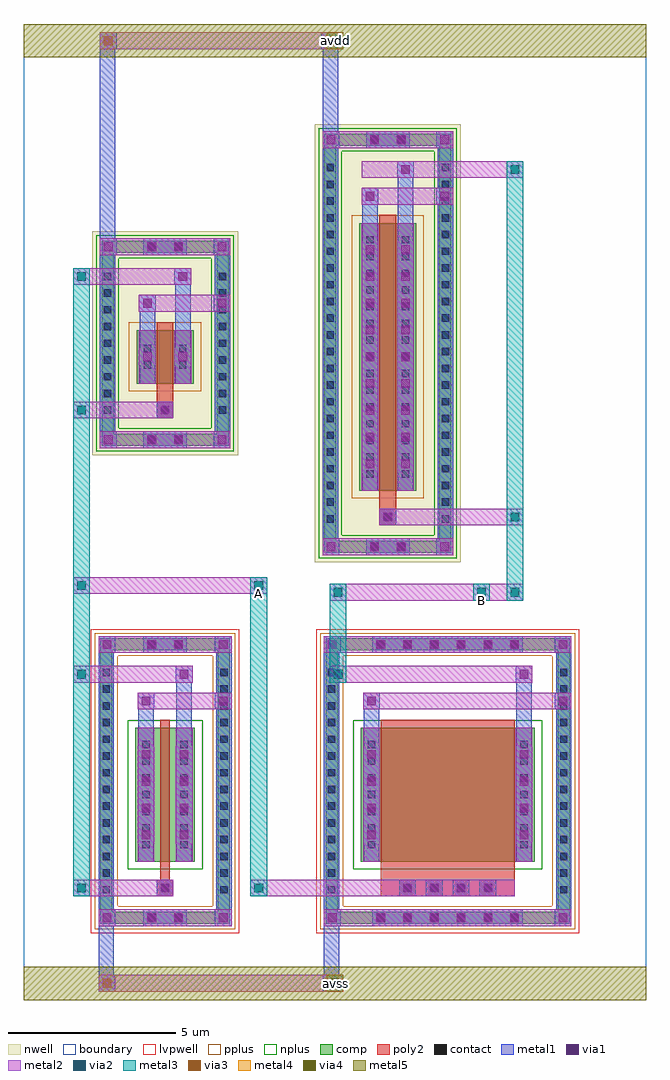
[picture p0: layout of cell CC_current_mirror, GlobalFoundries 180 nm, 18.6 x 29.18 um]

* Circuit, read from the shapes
.subckt CC_current_mirror A B avdd avss
XM1 A A avss avss nfet_03v3 w=4u l=0.28u
XM2 B A avss avss nfet_03v3 w=4u l=4u
XM3 A A avdd avdd pfet_03v3 w=1.6u l=0.5u
XM4 B B avdd avdd pfet_03v3 w=8u l=0.5u
.ends

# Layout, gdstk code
import gdstk
lib = gdstk.Library(unit=1e-6, precision=1e-09)
def R(c, l, rs):  # rectangles x0, y0, x1, y1
    for r in rs: c.add(gdstk.rectangle(r[:2], r[2:], *l))
def A(c, l, x, y, w, h, nx, ny, dx, dy):  # array of equal rectangles
    R(c, l, [(x+i*dx, y+j*dy, x+i*dx+w, y+j*dy+h) for i in range(nx) for j in range(ny)])
def P(c, l, *ps):  # polygons
    for p in ps: c.add(gdstk.Polygon(p, *l))
boundary = (0, 0)
nwell = (21, 0)
comp = (22, 0)
poly2 = (30, 0)
pplus = (31, 0)
nplus = (32, 0)
contact = (33, 0)
metal1 = (34, 0)
via1 = (35, 0)
metal2 = (36, 0)
via2 = (38, 0)
via3 = (40, 0)
via4 = (41, 0)
metal3 = (42, 0)
metal4 = (46, 0)
metal5 = (81, 0)
lvpwell = (204, 0)

cc_c_route_9af5f0b9 = lib.new_cell('CC_c_route_9af5f0b9')
R(cc_c_route_9af5f0b9, metal2, [(9.14,9.49,10.14,9.99), (9.14,9.49,9.64,9.99), (9.14,11.94,9.64,12.44), (9.14,11.94,13.43,12.44)])
R(cc_c_route_9af5f0b9, via2, [(9.26,9.61,9.52,9.87), (9.26,12.06,9.52,12.32)])
R(cc_c_route_9af5f0b9, metal3, [(9.14,9.49,9.64,9.99), (9.14,9.49,9.64,9.99), (9.14,9.49,9.64,12.44), (9.14,11.94,9.64,12.44), (9.14,11.94,9.64,12.44)])
P(cc_c_route_9af5f0b9, metal3, [(9.64,9.49),(9.64,9.99),(9.64,9.99),(9.64,9.49)],
  [(9.64,11.94),(9.64,12.44),(9.64,12.44),(9.64,11.94)])

cc_c_route_4b62a17f = lib.new_cell('CC_c_route_4b62a17f')
R(cc_c_route_4b62a17f, metal2, [(13.93,11.94,14.93,12.44), (14.43,11.94,14.93,12.44), (11.13,14.19,14.93,14.69), (14.43,14.19,14.93,14.69)])
R(cc_c_route_4b62a17f, via2, [(14.55,12.06,14.81,12.32), (14.55,14.31,14.81,14.57)])
R(cc_c_route_4b62a17f, metal3, [(14.43,11.94,14.93,12.44), (14.43,11.94,14.93,12.44), (14.43,11.94,14.93,14.69), (14.43,14.19,14.93,14.69), (14.43,14.19,14.93,14.69)])
P(cc_c_route_4b62a17f, metal3, [(14.93,11.94),(14.93,12.44),(14.93,12.44),(14.93,11.94)],
  [(14.93,14.19),(14.93,14.69),(14.93,14.69),(14.93,14.19)])

cc_c_route_1f64fc76 = lib.new_cell('CC_c_route_1f64fc76')
R(cc_c_route_1f64fc76, metal2, [(13.93,11.94,14.93,12.44), (14.43,11.94,14.93,12.44), (11.66,24.58,14.93,25.08), (14.43,24.58,14.93,25.08)])
R(cc_c_route_1f64fc76, via2, [(14.55,12.06,14.81,12.32), (14.55,24.7,14.81,24.96)])
R(cc_c_route_1f64fc76, metal3, [(14.43,11.94,14.93,12.44), (14.43,11.94,14.93,12.44), (14.43,11.94,14.93,25.08), (14.43,24.58,14.93,25.08), (14.43,24.58,14.93,25.08)])
P(cc_c_route_1f64fc76, metal3, [(14.93,11.94),(14.93,12.44),(14.93,12.44),(14.93,11.94)],
  [(14.93,24.58),(14.93,25.08),(14.93,25.08),(14.93,24.58)])

cc_l_route_401f96ee = lib.new_cell('CC_L_route_401f96ee')
R(cc_l_route_401f96ee, metal2, [(6.77,3.1,10.67,3.6), (6.77,3.1,7.27,3.6), (6.77,3.1,7.27,3.6)])
R(cc_l_route_401f96ee, via2, [(6.89,3.22,7.15,3.48)])
R(cc_l_route_401f96ee, metal3, [(6.77,3.1,7.27,3.6), (6.77,3.1,7.27,3.6), (6.77,3.1,7.27,12.14)])

cc_straight_route_ca1693 = lib.new_cell('CC_straight_route_ca1693f4')
R(cc_straight_route_ca1693, metal2, [(1.47,12.14,7.27,12.64)])

cc_l_route_70e60bcc = lib.new_cell('CC_L_route_70e60bcc')
R(cc_l_route_70e60bcc, metal2, [(1.47,3.1,3.97,3.6), (1.47,3.1,1.97,3.6), (1.47,3.1,1.97,3.6)])
R(cc_l_route_70e60bcc, via2, [(1.59,3.22,1.85,3.48)])
R(cc_l_route_70e60bcc, metal3, [(1.47,3.1,1.97,3.6), (1.47,3.1,1.97,3.6), (1.47,3.1,1.97,12.14)])

cc_l_route_1d105673 = lib.new_cell('CC_L_route_1d105673')
R(cc_l_route_1d105673, metal2, [(1.47,17.39,3.97,17.89), (1.47,17.39,1.97,17.89), (1.47,17.39,1.97,17.89)])
R(cc_l_route_1d105673, via2, [(1.59,17.51,1.85,17.77)])
R(cc_l_route_1d105673, metal3, [(1.47,12.64,1.97,17.89), (1.47,17.39,1.97,17.89), (1.47,17.39,1.97,17.89)])

cc_l_route_0b815acd = lib.new_cell('CC_L_route_0b815acd')
R(cc_l_route_0b815acd, metal2, [(1.47,9.49,3.4,9.99), (1.47,9.49,1.97,9.99), (1.47,9.49,1.97,9.99)])
R(cc_l_route_0b815acd, via2, [(1.59,9.61,1.85,9.87)])
R(cc_l_route_0b815acd, metal3, [(1.47,9.49,1.97,9.99), (1.47,9.49,1.97,9.99), (1.47,9.49,1.97,12.14)])

cc_l_route_261ebb80 = lib.new_cell('CC_L_route_261ebb80')
R(cc_l_route_261ebb80, metal2, [(1.47,21.38,3.44,21.88), (1.47,21.38,1.97,21.88), (1.47,21.38,1.97,21.88)])
R(cc_l_route_261ebb80, via2, [(1.59,21.5,1.85,21.76)])
R(cc_l_route_261ebb80, metal3, [(1.47,12.64,1.97,21.88), (1.47,21.38,1.97,21.88), (1.47,21.38,1.97,21.88)])

cc_l_route_b678fe23 = lib.new_cell('CC_L_route_b678fe23')
R(cc_l_route_b678fe23, metal1, [(15.87,8.69,16.37,9.19), (15.87,8.69,16.37,9.19), (15.91,8.69,16.37,10.45)])
R(cc_l_route_b678fe23, via1, [(15.99,8.81,16.25,9.07)])
R(cc_l_route_b678fe23, metal2, [(15.2,8.69,16.37,9.19), (15.87,8.69,16.37,9.19), (15.87,8.69,16.37,9.19)])

cc_l_route_3668c173 = lib.new_cell('CC_L_route_3668c173')
R(cc_l_route_3668c173, metal1, [(5.71,8.69,6.21,9.19), (5.71,8.69,6.21,9.19), (5.75,8.69,6.21,10.45)])
R(cc_l_route_3668c173, via1, [(5.83,8.81,6.09,9.07)])
R(cc_l_route_3668c173, metal2, [(5.04,8.69,6.21,9.19), (5.71,8.69,6.21,9.19), (5.71,8.69,6.21,9.19)])

cc_l_route_44892cc1 = lib.new_cell('CC_L_route_44892cc1')
R(cc_l_route_44892cc1, metal1, [(12.33,23.78,12.83,24.28), (12.33,23.78,12.83,24.28), (12.37,23.78,12.83,25.54)])
R(cc_l_route_44892cc1, via1, [(12.45,23.9,12.71,24.16)])
R(cc_l_route_44892cc1, metal2, [(11.66,23.78,12.83,24.28), (12.33,23.78,12.83,24.28), (12.33,23.78,12.83,24.28)])

cc_l_route_7fcb8801 = lib.new_cell('CC_L_route_7fcb8801')
R(cc_l_route_7fcb8801, metal1, [(5.67,20.58,6.17,21.08), (5.67,20.58,6.17,21.08), (5.71,20.58,6.17,22.34)])
R(cc_l_route_7fcb8801, via1, [(5.79,20.7,6.05,20.96)])
R(cc_l_route_7fcb8801, metal2, [(5,20.58,6.17,21.08), (5.67,20.58,6.17,21.08), (5.67,20.58,6.17,21.08)])

cc_l_route_9d17e116 = lib.new_cell('CC_L_route_9d17e116')
R(cc_l_route_9d17e116, metal1, [(8.93,0.25,9.43,0.75), (8.93,0.25,9.43,0.75), (8.97,0.25,9.43,2.64)])
R(cc_l_route_9d17e116, via1, [(9.05,0.37,9.31,0.63)])
R(cc_l_route_9d17e116, metal2, [(8.93,0.25,9.43,0.75), (8.93,0.25,9.43,0.75), (9.05,0.25,9.43,0.75)])

cc_l_route_4c3c9079 = lib.new_cell('CC_L_route_4c3c9079')
R(cc_l_route_4c3c9079, metal1, [(2.23,0.25,2.73,0.75), (2.23,0.25,2.73,0.75), (2.23,0.25,2.69,2.64)])
R(cc_l_route_4c3c9079, via1, [(2.35,0.37,2.61,0.63)])
R(cc_l_route_4c3c9079, metal2, [(2.23,0.25,9.05,0.75), (2.23,0.25,2.73,0.75), (2.23,0.25,2.73,0.75)])

cc_l_route_912ef19c = lib.new_cell('CC_L_route_912ef19c')
R(cc_l_route_912ef19c, metal1, [(8.93,25.54,9.39,28.93), (8.89,28.43,9.39,28.93), (8.89,28.43,9.39,28.93)])
R(cc_l_route_912ef19c, via1, [(9.01,28.55,9.27,28.81)])
R(cc_l_route_912ef19c, metal2, [(8.89,28.43,9.39,28.93), (8.89,28.43,9.39,28.93), (9.05,28.43,9.39,28.93)])

cc_l_route_854bcf3a = lib.new_cell('CC_L_route_854bcf3a')
R(cc_l_route_854bcf3a, metal1, [(2.27,22.34,2.73,28.93), (2.27,28.43,2.77,28.93), (2.27,28.43,2.77,28.93)])
R(cc_l_route_854bcf3a, via1, [(2.39,28.55,2.65,28.81)])
R(cc_l_route_854bcf3a, metal2, [(2.27,28.43,9.05,28.93), (2.27,28.43,2.77,28.93), (2.27,28.43,2.77,28.93)])

cc_via_stack_a2e89513_23 = lib.new_cell('CC_via_stack_a2e89513$23')
R(cc_via_stack_a2e89513_23, metal2, [(-0.25,-0.25,0.25,0.25)])
R(cc_via_stack_a2e89513_23, via2, [(-0.13,-0.13,0.13,0.13)])
R(cc_via_stack_a2e89513_23, metal3, [(-0.25,-0.25,0.25,0.25)])

cc_via_stack_7fdd5994_2 = lib.new_cell('CC_via_stack_7fdd5994$2')
R(cc_via_stack_7fdd5994_2, metal2, [(-0.25,-0.25,0.25,0.25)])
R(cc_via_stack_7fdd5994_2, via2, [(-0.13,-0.13,0.13,0.13)])
R(cc_via_stack_7fdd5994_2, via3, [(-0.13,-0.13,0.13,0.13)])
R(cc_via_stack_7fdd5994_2, via4, [(-0.13,-0.13,0.13,0.13)])
R(cc_via_stack_7fdd5994_2, metal3, [(-0.25,-0.25,0.25,0.25)])
R(cc_via_stack_7fdd5994_2, metal4, [(-0.25,-0.25,0.25,0.25)])
R(cc_via_stack_7fdd5994_2, metal5, [(-0.25,-0.25,0.25,0.25)])

cc_compass_8b261e8c_1 = lib.new_cell('CC_compass_8b261e8c$1')
R(cc_compass_8b261e8c_1, metal5, [(-9.3,-0.5,9.3,0.5)])

cc_rectangle_8b261e8c_1 = lib.new_cell('CC_rectangle_8b261e8c$1')
cc_rectangle_8b261e8c_1.add(gdstk.Reference(cc_compass_8b261e8c_1, (9.3,0.5)))

cc_compass_8b261e8c = lib.new_cell('CC_compass_8b261e8c')
R(cc_compass_8b261e8c, metal5, [(-9.3,-0.5,9.3,0.5)])

cc_rectangle_8b261e8c = lib.new_cell('CC_rectangle_8b261e8c')
cc_rectangle_8b261e8c.add(gdstk.Reference(cc_compass_8b261e8c, (9.3,0.5)))

cc_m4 = lib.new_cell('CC_M4')
R(cc_m4, nwell, [(-2.18,-3.345,2.18,3.345), (-2.02,-3.185,2.02,3.185)])
A(cc_m4, comp, -1.9, -2.18, 0.36, 0.36, 1, 9, 0, 0.5)
A(cc_m4, comp, 1.54, -2.18, 0.36, 0.36, 1, 9, 0, 0.5)
R(cc_m4, comp, [(-0.58,-3.065,-0.22,-2.705), (-0.58,-3.065,0.58,-2.705), (0.22,-3.065,0.58,-2.705), (-1.9,-2.18,-1.54,2.18), (1.54,-2.18,1.9,2.18), (-0.85,-1.205,0.85,0.395), (-0.58,2.705,-0.22,3.065), (-0.58,2.705,0.58,3.065), (0.22,2.705,0.58,3.065)])
P(cc_m4, comp, [(-1.9,-3.065),(-1.9,-2.705),(1.54,-2.705),(1.54,2.705),(-1.54,2.705),(-1.54,-2.705),(-1.9,-2.705),(-1.9,3.065),(1.9,3.065),(1.9,-3.065)])
R(cc_m4, poly2, [(-0.25,-2.245,0.25,-1.745), (-0.18,-2.175,0.18,-1.815), (-0.25,-1.745,0.25,-1.445), (-0.25,-1.445,0.25,0.635)])
R(cc_m4, pplus, [(-1.08,-1.435,1.08,0.625)])
P(cc_m4, nplus, [(-2.06,-3.225),(-2.06,-2.545),(1.38,-2.545),(1.38,2.545),(-1.38,2.545),(-1.38,-2.545),(-2.06,-2.545),(-2.06,3.225),(2.06,3.225),(2.06,-3.225)])
A(cc_m4, contact, -1.83, -2.11, 0.22, 0.22, 1, 9, 0, 0.5)
A(cc_m4, contact, 1.61, -2.11, 0.22, 0.22, 1, 9, 0, 0.5)
R(cc_m4, contact, [(-0.51,-2.995,-0.29,-2.775), (0.29,-2.995,0.51,-2.775), (-0.11,-2.105,0.11,-1.885), (-0.64,-0.765,-0.42,-0.545), (0.42,-0.765,0.64,-0.545), (-0.64,-0.265,-0.42,-0.045), (0.42,-0.265,0.64,-0.045), (-0.51,2.775,-0.29,2.995), (0.29,2.775,0.51,2.995)])
A(cc_m4, metal1, -1.95, -2.23, 0.46, 0.46, 1, 9, 0, 0.5)
A(cc_m4, metal1, 1.49, -2.23, 0.46, 0.46, 1, 9, 0, 0.5)
R(cc_m4, metal1, [(-1.95,-3.135,-1.45,-2.635), (-1.95,-3.135,-1.45,-2.635), (-1.95,-3.135,-1.49,-2.705), (-0.65,-3.135,-0.15,-2.635), (-0.65,-3.135,0.65,-2.635), (0.15,-3.135,0.65,-2.635), (1.45,-3.135,1.95,-2.635), (1.45,-3.135,1.95,-2.635), (1.49,-3.135,1.95,-2.705), (-1.95,-2.705,-1.49,2.705), (1.49,-2.705,1.95,2.705), (-0.25,-2.245,0.25,-1.745), (-0.76,-1.205,-0.3,0.395), (0.3,-1.205,0.76,0.395), (-0.76,-0.885,-0.3,-0.425), (0.3,-0.885,0.76,-0.425), (-0.78,-0.655,-0.28,-0.155), (-0.78,-0.655,-0.28,-0.155), (0.28,-0.655,0.78,-0.155), (0.28,-0.655,0.78,-0.155), (-0.76,-0.385,-0.3,0.075), (0.3,-0.385,0.76,0.075), (-0.76,0.395,-0.3,1.445), (0.3,0.395,0.76,2.245), (-0.78,0.945,-0.28,1.445), (0.28,1.745,0.78,2.245), (-1.95,2.635,-1.45,3.135), (-1.95,2.635,-1.45,3.135), (-0.65,2.635,-0.15,3.135), (-0.65,2.635,0.65,3.135), (0.15,2.635,0.65,3.135), (1.45,2.635,1.95,3.135), (1.45,2.635,1.95,3.135), (-1.95,2.705,-1.49,3.135), (1.49,2.705,1.95,3.135)])
R(cc_m4, via1, [(-1.83,-3.015,-1.57,-2.755), (-0.53,-3.015,-0.27,-2.755), (0.27,-3.015,0.53,-2.755), (1.57,-3.015,1.83,-2.755), (-0.13,-2.125,0.13,-1.865), (-0.66,-0.535,-0.4,-0.275), (0.4,-0.535,0.66,-0.275), (-0.66,1.065,-0.4,1.325), (0.4,1.865,0.66,2.125), (-1.83,2.755,-1.57,3.015), (-0.53,2.755,-0.27,3.015), (0.27,2.755,0.53,3.015), (1.57,2.755,1.83,3.015)])
R(cc_m4, metal2, [(-1.95,-3.135,-1.45,-2.635), (-1.95,-3.135,-1.45,-2.635), (-1.95,-3.135,-1.54,-2.635), (-1.54,-3.135,1.54,-2.635), (-0.65,-3.135,-0.15,-2.635), (0.15,-3.135,0.65,-2.635), (1.45,-3.135,1.95,-2.635), (1.45,-3.135,1.95,-2.635), (1.54,-3.135,1.95,-2.635), (-0.25,-2.245,0.25,-1.745), (-0.25,-2.245,0.25,-1.745), (-0.78,-1.205,-0.28,0.395), (0.28,-1.205,0.78,0.395), (-0.78,-0.655,-0.28,-0.155), (0.28,-0.655,0.78,-0.155), (-0.78,0.945,-0.28,1.445), (-0.78,0.945,0.78,1.445), (-0.78,1.745,0.78,2.245), (0.28,1.745,0.78,2.245), (-1.95,2.635,-1.45,3.135), (-1.95,2.635,-1.45,3.135), (-1.95,2.635,-1.54,3.135), (-1.54,2.635,1.54,3.135), (-0.65,2.635,-0.15,3.135), (0.15,2.635,0.65,3.135), (1.45,2.635,1.95,3.135), (1.45,2.635,1.95,3.135), (1.54,2.635,1.95,3.135)])

cc_m3 = lib.new_cell('CC_M3')
R(cc_m3, nwell, [(-2.18,-6.545,2.18,6.545), (-2.02,-6.385,2.02,6.385)])
A(cc_m3, comp, -1.9, -5.43, 0.36, 0.36, 1, 22, 0, 0.5)
A(cc_m3, comp, 1.54, -5.43, 0.36, 0.36, 1, 22, 0, 0.5)
R(cc_m3, comp, [(-0.58,-6.265,-0.22,-5.905), (-0.58,-6.265,0.58,-5.905), (0.22,-6.265,0.58,-5.905), (-1.9,-5.43,-1.54,5.43), (1.54,-5.43,1.9,5.43), (-0.85,-4.405,0.85,3.595), (-0.58,5.905,-0.22,6.265), (-0.58,5.905,0.58,6.265), (0.22,5.905,0.58,6.265)])
P(cc_m3, comp, [(-1.9,-6.265),(-1.9,-5.905),(1.54,-5.905),(1.54,5.905),(-1.54,5.905),(-1.54,-5.905),(-1.9,-5.905),(-1.9,6.265),(1.9,6.265),(1.9,-6.265)])
R(cc_m3, poly2, [(-0.25,-5.445,0.25,-4.945), (-0.18,-5.375,0.18,-5.015), (-0.25,-4.945,0.25,-4.645), (-0.25,-4.645,0.25,3.835)])
R(cc_m3, pplus, [(-1.08,-4.635,1.08,3.825)])
P(cc_m3, nplus, [(-2.06,-6.425),(-2.06,-5.745),(1.38,-5.745),(1.38,5.745),(-1.38,5.745),(-1.38,-5.745),(-2.06,-5.745),(-2.06,6.425),(2.06,6.425),(2.06,-6.425)])
A(cc_m3, contact, -1.83, -5.36, 0.22, 0.22, 1, 22, 0, 0.5)
A(cc_m3, contact, 1.61, -5.36, 0.22, 0.22, 1, 22, 0, 0.5)
A(cc_m3, contact, -0.64, -4.015, 0.22, 0.22, 1, 15, 0, 0.5)
A(cc_m3, contact, 0.42, -4.015, 0.22, 0.22, 1, 15, 0, 0.5)
R(cc_m3, contact, [(-0.51,-6.195,-0.29,-5.975), (0.29,-6.195,0.51,-5.975), (-0.11,-5.305,0.11,-5.085), (-0.51,5.975,-0.29,6.195), (0.29,5.975,0.51,6.195)])
A(cc_m3, metal1, -1.95, -5.48, 0.46, 0.46, 1, 22, 0, 0.5)
A(cc_m3, metal1, 1.49, -5.48, 0.46, 0.46, 1, 22, 0, 0.5)
A(cc_m3, metal1, -0.76, -4.135, 0.46, 0.46, 1, 15, 0, 0.5)
A(cc_m3, metal1, 0.3, -4.135, 0.46, 0.46, 1, 15, 0, 0.5)
A(cc_m3, metal1, -0.78, -3.855, 0.5, 0.5, 1, 9, 0, 0.8)
A(cc_m3, metal1, 0.28, -3.855, 0.5, 0.5, 1, 9, 0, 0.8)
R(cc_m3, metal1, [(-1.95,-6.335,-1.45,-5.835), (-1.95,-6.335,-1.45,-5.835), (-1.95,-6.335,-1.49,-5.905), (-0.65,-6.335,-0.15,-5.835), (-0.65,-6.335,0.65,-5.835), (0.15,-6.335,0.65,-5.835), (1.45,-6.335,1.95,-5.835), (1.45,-6.335,1.95,-5.835), (1.49,-6.335,1.95,-5.905), (-1.95,-5.905,-1.49,5.905), (1.49,-5.905,1.95,5.905), (-0.25,-5.445,0.25,-4.945), (-0.76,-4.405,-0.3,3.595), (0.3,-4.405,0.76,3.595), (-0.78,-3.855,-0.28,3.045), (0.28,-3.855,0.78,3.045), (-0.76,3.595,-0.3,4.645), (0.3,3.595,0.76,5.445), (-0.78,4.145,-0.28,4.645), (0.28,4.945,0.78,5.445), (-1.95,5.835,-1.45,6.335), (-1.95,5.835,-1.45,6.335), (-0.65,5.835,-0.15,6.335), (-0.65,5.835,0.65,6.335), (0.15,5.835,0.65,6.335), (1.45,5.835,1.95,6.335), (1.45,5.835,1.95,6.335), (-1.95,5.905,-1.49,6.335), (1.49,5.905,1.95,6.335)])
A(cc_m3, via1, -0.66, -3.735, 0.26, 0.26, 1, 9, 0, 0.8)
A(cc_m3, via1, 0.4, -3.735, 0.26, 0.26, 1, 9, 0, 0.8)
R(cc_m3, via1, [(-1.83,-6.215,-1.57,-5.955), (-0.53,-6.215,-0.27,-5.955), (0.27,-6.215,0.53,-5.955), (1.57,-6.215,1.83,-5.955), (-0.13,-5.325,0.13,-5.065), (-0.66,4.265,-0.4,4.525), (0.4,5.065,0.66,5.325), (-1.83,5.955,-1.57,6.215), (-0.53,5.955,-0.27,6.215), (0.27,5.955,0.53,6.215), (1.57,5.955,1.83,6.215)])
A(cc_m3, metal2, -0.78, -3.855, 0.5, 0.5, 1, 9, 0, 0.8)
A(cc_m3, metal2, 0.28, -3.855, 0.5, 0.5, 1, 9, 0, 0.8)
R(cc_m3, metal2, [(-1.95,-6.335,-1.45,-5.835), (-1.95,-6.335,-1.45,-5.835), (-1.95,-6.335,-1.54,-5.835), (-1.54,-6.335,1.54,-5.835), (-0.65,-6.335,-0.15,-5.835), (0.15,-6.335,0.65,-5.835), (1.45,-6.335,1.95,-5.835), (1.45,-6.335,1.95,-5.835), (1.54,-6.335,1.95,-5.835), (-0.25,-5.445,0.25,-4.945), (-0.25,-5.445,0.25,-4.945), (-0.78,-4.405,-0.28,3.595), (0.28,-4.405,0.78,3.595), (-0.78,4.145,-0.28,4.645), (-0.78,4.145,0.78,4.645), (-0.78,4.945,0.78,5.445), (0.28,4.945,0.78,5.445), (-1.95,5.835,-1.45,6.335), (-1.95,5.835,-1.45,6.335), (-1.95,5.835,-1.54,6.335), (-1.54,5.835,1.54,6.335), (-0.65,5.835,-0.15,6.335), (0.15,5.835,0.65,6.335), (1.45,5.835,1.95,6.335), (1.45,5.835,1.95,6.335), (1.54,5.835,1.95,6.335)])

cc_m2 = lib.new_cell('CC_M2')
A(cc_m2, comp, -2.18, -4.265, 0.36, 0.36, 6, 2, 0.8, 8.17)
A(cc_m2, comp, -3.65, -3.43, 0.36, 0.36, 1, 14, 0, 0.5)
A(cc_m2, comp, 3.29, -3.43, 0.36, 0.36, 1, 14, 0, 0.5)
R(cc_m2, comp, [(-2.18,-4.265,2.18,-3.905), (-3.65,-3.43,-3.29,3.43), (3.29,-3.43,3.65,3.43), (-2.6,-2.405,2.6,1.595), (-2.18,3.905,2.18,4.265)])
P(cc_m2, comp, [(-3.65,-4.265),(-3.65,-3.905),(3.29,-3.905),(3.29,3.905),(-3.29,3.905),(-3.29,-3.905),(-3.65,-3.905),(-3.65,4.265),(3.65,4.265),(3.65,-4.265)])
A(cc_m2, poly2, -1.38, -3.375, 0.36, 0.36, 4, 1, 0.8, 0)
R(cc_m2, poly2, [(-2,-3.445,2,-2.945), (-2,-2.945,2,-2.645), (-2,-2.645,2,1.835)])
P(cc_m2, pplus, [(-3.81,-4.425),(-3.81,-3.745),(3.13,-3.745),(3.13,3.745),(-3.13,3.745),(-3.13,-3.745),(-3.81,-3.745),(-3.81,4.425),(3.81,4.425),(3.81,-4.425)])
R(cc_m2, nplus, [(-2.83,-2.635,2.83,1.825)])
A(cc_m2, contact, -2.11, -4.195, 0.22, 0.22, 6, 2, 0.8, 8.17)
A(cc_m2, contact, -3.58, -3.36, 0.22, 0.22, 1, 14, 0, 0.5)
A(cc_m2, contact, 3.36, -3.36, 0.22, 0.22, 1, 14, 0, 0.5)
A(cc_m2, contact, -1.31, -3.305, 0.22, 0.22, 4, 1, 0.8, 0)
A(cc_m2, contact, -2.39, -2.015, 0.22, 0.22, 1, 7, 0, 0.5)
A(cc_m2, contact, 2.17, -2.015, 0.22, 0.22, 1, 7, 0, 0.5)
A(cc_m2, metal1, -2.25, -4.335, 0.5, 0.5, 6, 2, 0.8, 8.17)
A(cc_m2, metal1, -3.7, -3.48, 0.46, 0.46, 1, 14, 0, 0.5)
A(cc_m2, metal1, 3.24, -3.48, 0.46, 0.46, 1, 14, 0, 0.5)
A(cc_m2, metal1, -1.45, -3.445, 0.5, 0.5, 4, 1, 0.8, 0)
A(cc_m2, metal1, -2.51, -2.135, 0.46, 0.46, 1, 7, 0, 0.5)
A(cc_m2, metal1, 2.05, -2.135, 0.46, 0.46, 1, 7, 0, 0.5)
A(cc_m2, metal1, -2.53, -1.855, 0.5, 0.5, 1, 4, 0, 0.8)
A(cc_m2, metal1, 2.03, -1.855, 0.5, 0.5, 1, 4, 0, 0.8)
R(cc_m2, metal1, [(-3.7,-4.335,-3.2,-3.835), (-3.7,-4.335,-3.2,-3.835), (-3.7,-4.335,-3.24,-3.905), (-2.25,-4.335,2.25,-3.835), (3.2,-4.335,3.7,-3.835), (3.2,-4.335,3.7,-3.835), (3.24,-4.335,3.7,-3.905), (-3.7,-3.905,-3.24,3.905), (3.24,-3.905,3.7,3.905), (-2.51,-2.405,-2.05,1.595), (2.05,-2.405,2.51,1.595), (-2.53,-1.855,-2.03,1.045), (2.03,-1.855,2.53,1.045), (-2.51,1.595,-2.05,2.645), (2.05,1.595,2.51,3.445), (-2.53,2.145,-2.03,2.645), (2.03,2.945,2.53,3.445), (-3.7,3.835,-3.2,4.335), (-3.7,3.835,-3.2,4.335), (-2.25,3.835,2.25,4.335), (3.2,3.835,3.7,4.335), (3.2,3.835,3.7,4.335), (-3.7,3.905,-3.24,4.335), (3.24,3.905,3.7,4.335)])
A(cc_m2, via1, -2.13, -4.215, 0.26, 0.26, 6, 2, 0.8, 8.17)
A(cc_m2, via1, -1.33, -3.325, 0.26, 0.26, 4, 1, 0.8, 0)
A(cc_m2, via1, -2.41, -1.735, 0.26, 0.26, 1, 4, 0, 0.8)
A(cc_m2, via1, 2.15, -1.735, 0.26, 0.26, 1, 4, 0, 0.8)
R(cc_m2, via1, [(-3.58,-4.215,-3.32,-3.955), (3.32,-4.215,3.58,-3.955), (-2.41,2.265,-2.15,2.525), (2.15,3.065,2.41,3.325), (-3.58,3.955,-3.32,4.215), (3.32,3.955,3.58,4.215)])
A(cc_m2, metal2, -2.25, -4.335, 0.5, 0.5, 6, 2, 0.8, 8.17)
A(cc_m2, metal2, -1.45, -3.445, 0.5, 0.5, 4, 1, 0.8, 0)
A(cc_m2, metal2, -2.53, -1.855, 0.5, 0.5, 1, 4, 0, 0.8)
A(cc_m2, metal2, 2.03, -1.855, 0.5, 0.5, 1, 4, 0, 0.8)
R(cc_m2, metal2, [(-3.7,-4.335,-3.2,-3.835), (-3.7,-4.335,-3.2,-3.835), (-3.7,-4.335,-3.29,-3.835), (-3.29,-4.335,3.29,-3.835), (3.2,-4.335,3.7,-3.835), (3.2,-4.335,3.7,-3.835), (3.29,-4.335,3.7,-3.835), (-2,-3.445,2,-2.945), (-2.53,-2.405,-2.03,1.595), (2.03,-2.405,2.53,1.595), (-2.53,2.145,-2.03,2.645), (-2.53,2.145,2.53,2.645), (-2.53,2.945,2.53,3.445), (2.03,2.945,2.53,3.445), (-3.7,3.835,-3.2,4.335), (-3.7,3.835,-3.2,4.335), (-3.7,3.835,-3.29,4.335), (-3.29,3.835,3.29,4.335), (3.2,3.835,3.7,4.335), (3.2,3.835,3.7,4.335), (3.29,3.835,3.7,4.335)])
R(cc_m2, lvpwell, [(-3.93,-4.545,3.93,4.545)])

cc_m1_2 = lib.new_cell('CC_M1$2')
A(cc_m1_2, comp, -1.94, -3.43, 0.36, 0.36, 1, 14, 0, 0.5)
A(cc_m1_2, comp, 1.58, -3.43, 0.36, 0.36, 1, 14, 0, 0.5)
R(cc_m1_2, comp, [(-0.58,-4.265,-0.22,-3.905), (-0.58,-4.265,0.58,-3.905), (0.22,-4.265,0.58,-3.905), (-1.94,-3.43,-1.58,3.43), (1.58,-3.43,1.94,3.43), (-0.89,-2.405,0.89,1.595), (-0.58,3.905,-0.22,4.265), (-0.58,3.905,0.58,4.265), (0.22,3.905,0.58,4.265)])
P(cc_m1_2, comp, [(-1.94,-4.265),(-1.94,-3.905),(1.58,-3.905),(1.58,3.905),(-1.58,3.905),(-1.58,-3.905),(-1.94,-3.905),(-1.94,4.265),(1.94,4.265),(1.94,-4.265)])
R(cc_m1_2, poly2, [(-0.25,-3.445,0.25,-2.945), (-0.18,-3.375,0.18,-3.015), (-0.14,-2.945,0.14,-2.645), (-0.14,-2.645,0.14,1.835)])
P(cc_m1_2, pplus, [(-2.1,-4.425),(-2.1,-3.745),(1.42,-3.745),(1.42,3.745),(-1.42,3.745),(-1.42,-3.745),(-2.1,-3.745),(-2.1,4.425),(2.1,4.425),(2.1,-4.425)])
R(cc_m1_2, nplus, [(-1.12,-2.635,1.12,1.825)])
A(cc_m1_2, contact, -1.87, -3.36, 0.22, 0.22, 1, 14, 0, 0.5)
A(cc_m1_2, contact, 1.65, -3.36, 0.22, 0.22, 1, 14, 0, 0.5)
A(cc_m1_2, contact, -0.68, -2.015, 0.22, 0.22, 1, 7, 0, 0.5)
A(cc_m1_2, contact, 0.46, -2.015, 0.22, 0.22, 1, 7, 0, 0.5)
R(cc_m1_2, contact, [(-0.51,-4.195,-0.29,-3.975), (0.29,-4.195,0.51,-3.975), (-0.11,-3.305,0.11,-3.085), (-0.51,3.975,-0.29,4.195), (0.29,3.975,0.51,4.195)])
A(cc_m1_2, metal1, -1.99, -3.48, 0.46, 0.46, 1, 14, 0, 0.5)
A(cc_m1_2, metal1, 1.53, -3.48, 0.46, 0.46, 1, 14, 0, 0.5)
A(cc_m1_2, metal1, -0.8, -2.135, 0.46, 0.46, 1, 7, 0, 0.5)
A(cc_m1_2, metal1, 0.34, -2.135, 0.46, 0.46, 1, 7, 0, 0.5)
A(cc_m1_2, metal1, -0.82, -1.855, 0.5, 0.5, 1, 4, 0, 0.8)
A(cc_m1_2, metal1, 0.32, -1.855, 0.5, 0.5, 1, 4, 0, 0.8)
R(cc_m1_2, metal1, [(-1.99,-4.335,-1.49,-3.835), (-1.99,-4.335,-1.49,-3.835), (-1.99,-4.335,-1.53,-3.905), (-0.65,-4.335,-0.15,-3.835), (-0.65,-4.335,0.65,-3.835), (0.15,-4.335,0.65,-3.835), (1.49,-4.335,1.99,-3.835), (1.49,-4.335,1.99,-3.835), (1.53,-4.335,1.99,-3.905), (-1.99,-3.905,-1.53,3.905), (1.53,-3.905,1.99,3.905), (-0.25,-3.445,0.25,-2.945), (-0.8,-2.405,-0.34,1.595), (0.34,-2.405,0.8,1.595), (-0.82,-1.855,-0.32,1.045), (0.32,-1.855,0.82,1.045), (-0.8,1.595,-0.34,2.645), (0.34,1.595,0.8,3.445), (-0.82,2.145,-0.32,2.645), (0.32,2.945,0.82,3.445), (-1.99,3.835,-1.49,4.335), (-1.99,3.835,-1.49,4.335), (-0.65,3.835,-0.15,4.335), (-0.65,3.835,0.65,4.335), (0.15,3.835,0.65,4.335), (1.49,3.835,1.99,4.335), (1.49,3.835,1.99,4.335), (-1.99,3.905,-1.53,4.335), (1.53,3.905,1.99,4.335)])
A(cc_m1_2, via1, -0.7, -1.735, 0.26, 0.26, 1, 4, 0, 0.8)
A(cc_m1_2, via1, 0.44, -1.735, 0.26, 0.26, 1, 4, 0, 0.8)
R(cc_m1_2, via1, [(-1.87,-4.215,-1.61,-3.955), (-0.53,-4.215,-0.27,-3.955), (0.27,-4.215,0.53,-3.955), (1.61,-4.215,1.87,-3.955), (-0.13,-3.325,0.13,-3.065), (-0.7,2.265,-0.44,2.525), (0.44,3.065,0.7,3.325), (-1.87,3.955,-1.61,4.215), (-0.53,3.955,-0.27,4.215), (0.27,3.955,0.53,4.215), (1.61,3.955,1.87,4.215)])
A(cc_m1_2, metal2, -0.82, -1.855, 0.5, 0.5, 1, 4, 0, 0.8)
A(cc_m1_2, metal2, 0.32, -1.855, 0.5, 0.5, 1, 4, 0, 0.8)
R(cc_m1_2, metal2, [(-1.99,-4.335,-1.49,-3.835), (-1.99,-4.335,-1.49,-3.835), (-1.99,-4.335,-1.58,-3.835), (-1.58,-4.335,1.58,-3.835), (-0.65,-4.335,-0.15,-3.835), (0.15,-4.335,0.65,-3.835), (1.49,-4.335,1.99,-3.835), (1.49,-4.335,1.99,-3.835), (1.58,-4.335,1.99,-3.835), (-0.25,-3.445,0.25,-2.945), (-0.25,-3.445,0.25,-2.945), (-0.82,-2.405,-0.32,1.595), (0.32,-2.405,0.82,1.595), (-0.82,2.145,-0.32,2.645), (-0.82,2.145,0.82,2.645), (-0.82,2.945,0.82,3.445), (0.32,2.945,0.82,3.445), (-1.99,3.835,-1.49,4.335), (-1.99,3.835,-1.49,4.335), (-1.99,3.835,-1.58,4.335), (-1.58,3.835,1.58,4.335), (-0.65,3.835,-0.15,4.335), (0.15,3.835,0.65,4.335), (1.49,3.835,1.99,4.335), (1.49,3.835,1.99,4.335), (1.58,3.835,1.99,4.335)])
R(cc_m1_2, lvpwell, [(-2.22,-4.545,2.22,4.545)])

cc_current_mirror = lib.new_cell('CC_current_mirror')
R(cc_current_mirror, boundary, [(0,0,18.6,29.18)])
cc_current_mirror.add(gdstk.Reference(cc_c_route_9af5f0b9, (0,0)))
cc_current_mirror.add(gdstk.Reference(cc_c_route_4b62a17f, (0,0)))
cc_current_mirror.add(gdstk.Reference(cc_c_route_1f64fc76, (0,0)))
cc_current_mirror.add(gdstk.Reference(cc_l_route_401f96ee, (0,0)))
cc_current_mirror.add(gdstk.Reference(cc_straight_route_ca1693, (0,0)))
cc_current_mirror.add(gdstk.Reference(cc_l_route_70e60bcc, (0,0)))
cc_current_mirror.add(gdstk.Reference(cc_l_route_1d105673, (0,0)))
cc_current_mirror.add(gdstk.Reference(cc_l_route_0b815acd, (0,0)))
cc_current_mirror.add(gdstk.Reference(cc_l_route_261ebb80, (0,0)))
cc_current_mirror.add(gdstk.Reference(cc_l_route_b678fe23, (0,0)))
cc_current_mirror.add(gdstk.Reference(cc_l_route_3668c173, (0,0)))
cc_current_mirror.add(gdstk.Reference(cc_l_route_44892cc1, (0,0)))
cc_current_mirror.add(gdstk.Reference(cc_l_route_7fcb8801, (0,0)))
cc_current_mirror.add(gdstk.Reference(cc_l_route_9d17e116, (0,0)))
cc_current_mirror.add(gdstk.Reference(cc_l_route_4c3c9079, (0,0)))
cc_current_mirror.add(gdstk.Reference(cc_l_route_912ef19c, (0,0)))
cc_current_mirror.add(gdstk.Reference(cc_l_route_854bcf3a, (0,0)))
cc_current_mirror.add(gdstk.Reference(cc_via_stack_a2e89513_23, (13.68,12.19)))
cc_current_mirror.add(gdstk.Reference(cc_via_stack_a2e89513_23, (1.72,12.39)))
cc_current_mirror.add(gdstk.Reference(cc_via_stack_a2e89513_23, (7.02,12.39)))
cc_current_mirror.add(gdstk.Reference(cc_via_stack_7fdd5994_2, (9.3,0.5)))
cc_current_mirror.add(gdstk.Reference(cc_via_stack_7fdd5994_2, (9.3,28.68)))
cc_current_mirror.add(gdstk.Reference(cc_rectangle_8b261e8c_1, (0,0)))
cc_current_mirror.add(gdstk.Reference(cc_rectangle_8b261e8c, (0,28.18)))
cc_current_mirror.add(gdstk.Reference(cc_m4, (4.22,19.635)))
cc_current_mirror.add(gdstk.Reference(cc_m3, (10.88,19.635)))
cc_current_mirror.add(gdstk.Reference(cc_m2, (12.67,6.545)))
cc_current_mirror.add(gdstk.Reference(cc_m1_2, (4.22,6.545)))
cc_current_mirror.add(gdstk.Label('A', (7.02,12.14), layer=42, texttype=10))
cc_current_mirror.add(gdstk.Label('B', (13.68,11.94), layer=42, texttype=10))
cc_current_mirror.add(gdstk.Label('avss', (9.3,0.5), layer=81, texttype=10))
cc_current_mirror.add(gdstk.Label('avdd', (9.3,28.68), layer=81, texttype=10))

lib.write_gds('CC_current_mirror.gds')
